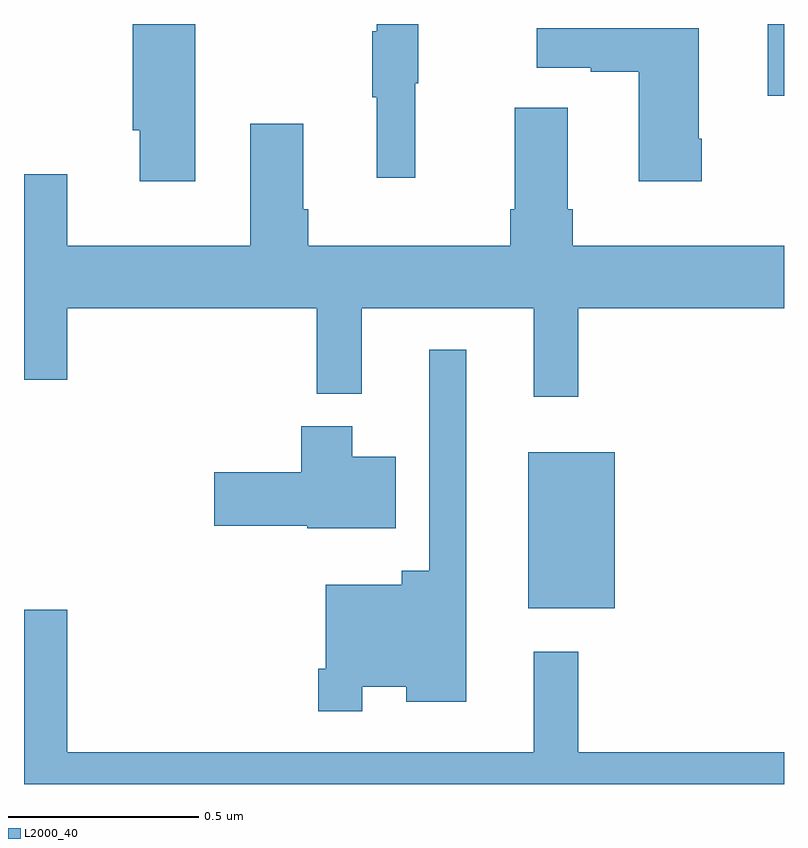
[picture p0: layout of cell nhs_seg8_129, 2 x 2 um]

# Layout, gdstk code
import gdstk
lib = gdstk.Library(unit=1e-6, precision=1e-09)
def R(c, l, rs):  # rectangles x0, y0, x1, y1
    for r in rs: c.add(gdstk.rectangle(r[:2], r[2:], *l))
def P(c, l, *ps):  # polygons
    for p in ps: c.add(gdstk.Polygon(p, *l))
L2000_40 = (2000, 40)

nhs_seg8_129 = lib.new_cell('nhs_seg8_129')
R(nhs_seg8_129, L2000_40, [(113.327,1130.363,113.554,1130.773), (113.957,1131.711,114,1131.9)])
P(nhs_seg8_129, L2000_40, [(113.03,1131.744),(113.038,1131.744),(113.038,1131.9),(112.928,1131.9),(112.928,1131.881),(112.917,1131.881),(112.917,1131.707),(112.928,1131.707),(112.928,1131.495),(113.03,1131.495)],
  [(112.45,1131.9),(112.286,1131.9),(112.286,1131.621),(112.304,1131.621),(112.304,1131.486),(112.45,1131.486)],
  [(113.784,1131.598),(113.776,1131.598),(113.776,1131.889),(113.349,1131.889),(113.349,1131.785),(113.492,1131.785),(113.492,1131.775),(113.618,1131.775),(113.618,1131.486),(113.784,1131.486)],
  [(113.459,1131.152),(114,1131.152),(114,1131.316),(113.444,1131.316),(113.444,1131.412),(113.431,1131.412),(113.431,1131.679),(113.291,1131.679),(113.291,1131.412),(113.279,1131.412),(113.279,1131.316),(112.748,1131.316),(112.748,1131.412),(112.735,1131.412),(112.735,1131.637),(112.595,1131.637),(112.595,1131.316),(112.114,1131.316),(112.114,1131.505),(112,1131.505),(112,1130.964),(112.114,1130.964),(112.114,1131.152),(112.771,1131.152),(112.771,1130.927),(112.889,1130.927),(112.889,1131.152),(113.342,1131.152),(113.342,1130.919),(113.459,1130.919)],
  [(112.89,1130.156),(113.006,1130.156),(113.006,1130.117),(113.164,1130.117),(113.164,1131.043),(113.067,1131.043),(113.067,1130.461),(112.994,1130.461),(112.994,1130.425),(112.794,1130.425),(112.794,1130.203),(112.774,1130.203),(112.774,1130.091),(112.89,1130.091)],
  [(112.978,1130.761),(112.864,1130.761),(112.864,1130.842),(112.73,1130.842),(112.73,1130.721),(112.5,1130.721),(112.5,1130.579),(112.746,1130.579),(112.746,1130.573),(112.978,1130.573)],
  [(114,1129.984),(113.459,1129.984),(113.459,1130.248),(113.342,1130.248),(113.342,1129.984),(112.114,1129.984),(112.114,1130.359),(112,1130.359),(112,1129.9),(114,1129.9)])

lib.write_gds('nhs_seg8_129.gds')
